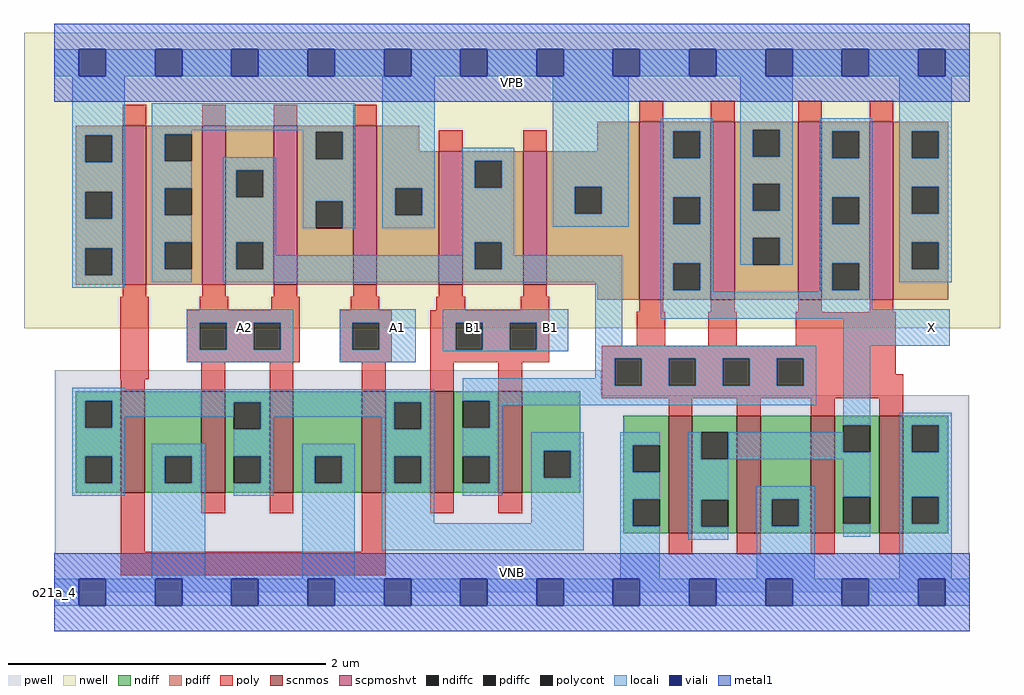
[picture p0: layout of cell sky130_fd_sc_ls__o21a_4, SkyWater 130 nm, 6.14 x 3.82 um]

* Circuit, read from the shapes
.subckt sky130_fd_sc_ls__o21a_4 A1 A2 B1 VGND VNB VPB VPWR X
XM1 VGND A1 n1 VNB sky130_fd_pr__nfet_01v8 w=0.64 l=0.15 m=2
XM2 n1 A2 VGND VNB sky130_fd_pr__nfet_01v8 w=0.64 l=0.15 m=2
XM3 n2 B1 n1 VNB sky130_fd_pr__nfet_01v8 w=0.64 l=0.15 m=2
XM4 X n2 VGND VNB sky130_fd_pr__nfet_01v8 w=0.74 l=0.15 m=4
XM5 n3 A1 VPWR VPB sky130_fd_pr__pfet_01v8_hvt w=1 l=0.15 m=2
XM6 n2 A2 n3 VPB sky130_fd_pr__pfet_01v8_hvt w=1 l=0.15 m=2
XM7 n2 B1 VPWR VPB sky130_fd_pr__pfet_01v8_hvt w=0.84 l=0.15 m=2
XM8 X n2 VPWR VPB sky130_fd_pr__pfet_01v8_hvt w=1.12 l=0.15 m=4
.ends

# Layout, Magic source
magic
tech sky130A
magscale 1 2
<< nwell >>
rect -38 332 1190 704
<< pwell >>
rect 1 248 688 279
rect 1 49 1151 248
rect 0 0 1152 49
<< scnmos >>
rect 84 125 114 253
rect 185 125 215 253
rect 271 125 301 253
rect 387 125 417 253
rect 473 125 503 253
rect 559 125 589 253
rect 773 74 803 222
rect 859 74 889 222
rect 952 74 982 222
rect 1038 74 1068 222
<< scpmoshvt >>
rect 86 387 116 587
rect 186 387 216 587
rect 276 387 306 587
rect 376 387 406 587
rect 484 387 514 555
rect 590 387 620 555
rect 736 368 766 592
rect 826 368 856 592
rect 936 368 966 592
rect 1026 368 1056 592
<< ndiff >>
rect 27 241 84 253
rect 27 207 39 241
rect 73 207 84 241
rect 27 171 84 207
rect 27 137 39 171
rect 73 137 84 171
rect 27 125 84 137
rect 114 171 185 253
rect 114 137 139 171
rect 173 137 185 171
rect 114 125 185 137
rect 215 239 271 253
rect 215 205 226 239
rect 260 205 271 239
rect 215 171 271 205
rect 215 137 226 171
rect 260 137 271 171
rect 215 125 271 137
rect 301 171 387 253
rect 301 137 328 171
rect 362 137 387 171
rect 301 125 387 137
rect 417 239 473 253
rect 417 205 428 239
rect 462 205 473 239
rect 417 171 473 205
rect 417 137 428 171
rect 462 137 473 171
rect 417 125 473 137
rect 503 241 559 253
rect 503 207 514 241
rect 548 207 559 241
rect 503 171 559 207
rect 503 137 514 171
rect 548 137 559 171
rect 503 125 559 137
rect 589 178 662 253
rect 589 144 616 178
rect 650 144 662 178
rect 589 125 662 144
rect 716 185 773 222
rect 716 151 728 185
rect 762 151 773 185
rect 716 117 773 151
rect 716 83 728 117
rect 762 83 773 117
rect 716 74 773 83
rect 803 201 859 222
rect 803 167 814 201
rect 848 167 859 201
rect 803 116 859 167
rect 803 82 814 116
rect 848 82 859 116
rect 803 74 859 82
rect 889 117 952 222
rect 889 83 903 117
rect 937 83 952 117
rect 889 74 952 83
rect 982 210 1038 222
rect 982 176 993 210
rect 1027 176 1038 210
rect 982 120 1038 176
rect 982 86 993 120
rect 1027 86 1038 120
rect 982 74 1038 86
rect 1068 210 1125 222
rect 1068 176 1079 210
rect 1113 176 1125 210
rect 1068 120 1125 176
rect 1068 86 1079 120
rect 1113 86 1125 120
rect 1068 74 1125 86
<< pdiff >>
rect 27 575 86 587
rect 27 541 39 575
rect 73 541 86 575
rect 27 504 86 541
rect 27 470 39 504
rect 73 470 86 504
rect 27 433 86 470
rect 27 399 39 433
rect 73 399 86 433
rect 27 387 86 399
rect 116 576 186 587
rect 116 542 139 576
rect 173 542 186 576
rect 116 508 186 542
rect 116 474 139 508
rect 173 474 186 508
rect 116 440 186 474
rect 116 406 139 440
rect 173 406 186 440
rect 116 387 186 406
rect 216 531 276 587
rect 216 497 229 531
rect 263 497 276 531
rect 216 440 276 497
rect 216 406 229 440
rect 263 406 276 440
rect 216 387 276 406
rect 306 579 376 587
rect 306 545 329 579
rect 363 545 376 579
rect 306 492 376 545
rect 306 458 329 492
rect 363 458 376 492
rect 306 387 376 458
rect 406 555 459 587
rect 683 555 736 592
rect 406 508 484 555
rect 406 474 429 508
rect 463 474 484 508
rect 406 387 484 474
rect 514 543 590 555
rect 514 509 529 543
rect 563 509 590 543
rect 514 440 590 509
rect 514 406 529 440
rect 563 406 590 440
rect 514 387 590 406
rect 620 510 736 555
rect 620 476 655 510
rect 689 476 736 510
rect 620 387 736 476
rect 683 368 736 387
rect 766 580 826 592
rect 766 546 779 580
rect 813 546 826 580
rect 766 497 826 546
rect 766 463 779 497
rect 813 463 826 497
rect 766 414 826 463
rect 766 380 779 414
rect 813 380 826 414
rect 766 368 826 380
rect 856 582 936 592
rect 856 548 879 582
rect 913 548 936 582
rect 856 514 936 548
rect 856 480 879 514
rect 913 480 936 514
rect 856 446 936 480
rect 856 412 879 446
rect 913 412 936 446
rect 856 368 936 412
rect 966 580 1026 592
rect 966 546 979 580
rect 1013 546 1026 580
rect 966 497 1026 546
rect 966 463 979 497
rect 1013 463 1026 497
rect 966 414 1026 463
rect 966 380 979 414
rect 1013 380 1026 414
rect 966 368 1026 380
rect 1056 580 1125 592
rect 1056 546 1079 580
rect 1113 546 1125 580
rect 1056 510 1125 546
rect 1056 476 1079 510
rect 1113 476 1125 510
rect 1056 440 1125 476
rect 1056 406 1079 440
rect 1113 406 1125 440
rect 1056 368 1125 406
<< ndiffc >>
rect 39 207 73 241
rect 39 137 73 171
rect 139 137 173 171
rect 226 205 260 239
rect 226 137 260 171
rect 328 137 362 171
rect 428 205 462 239
rect 428 137 462 171
rect 514 207 548 241
rect 514 137 548 171
rect 616 144 650 178
rect 728 151 762 185
rect 728 83 762 117
rect 814 167 848 201
rect 814 82 848 116
rect 903 83 937 117
rect 993 176 1027 210
rect 993 86 1027 120
rect 1079 176 1113 210
rect 1079 86 1113 120
<< pdiffc >>
rect 39 541 73 575
rect 39 470 73 504
rect 39 399 73 433
rect 139 542 173 576
rect 139 474 173 508
rect 139 406 173 440
rect 229 497 263 531
rect 229 406 263 440
rect 329 545 363 579
rect 329 458 363 492
rect 429 474 463 508
rect 529 509 563 543
rect 529 406 563 440
rect 655 476 689 510
rect 779 546 813 580
rect 779 463 813 497
rect 779 380 813 414
rect 879 548 913 582
rect 879 480 913 514
rect 879 412 913 446
rect 979 546 1013 580
rect 979 463 1013 497
rect 979 380 1013 414
rect 1079 546 1113 580
rect 1079 476 1113 510
rect 1079 406 1113 440
<< poly >>
rect 86 587 116 613
rect 186 587 216 613
rect 276 587 306 613
rect 376 587 406 613
rect 736 592 766 618
rect 826 592 856 618
rect 936 592 966 618
rect 1026 592 1056 618
rect 484 555 514 581
rect 590 555 620 581
rect 86 372 116 387
rect 186 372 216 387
rect 276 372 306 387
rect 376 372 406 387
rect 484 372 514 387
rect 590 372 620 387
rect 83 268 119 372
rect 183 355 219 372
rect 273 355 309 372
rect 373 355 409 372
rect 481 355 517 372
rect 587 355 623 372
rect 167 339 309 355
rect 167 305 183 339
rect 217 305 251 339
rect 285 305 309 339
rect 167 289 309 305
rect 359 339 425 355
rect 359 305 375 339
rect 409 305 425 339
rect 359 289 425 305
rect 473 339 623 355
rect 736 353 766 368
rect 826 353 856 368
rect 936 353 966 368
rect 1026 353 1056 368
rect 473 305 505 339
rect 539 305 573 339
rect 607 305 623 339
rect 733 310 769 353
rect 823 310 859 353
rect 933 352 969 353
rect 1023 352 1059 353
rect 933 310 1059 352
rect 473 289 623 305
rect 689 294 1059 310
rect 84 253 114 268
rect 185 253 215 289
rect 271 253 301 289
rect 387 253 417 289
rect 473 253 503 289
rect 559 253 589 289
rect 689 260 705 294
rect 739 260 773 294
rect 807 260 841 294
rect 875 260 909 294
rect 943 274 1059 294
rect 943 260 1068 274
rect 689 244 1068 260
rect 773 222 803 244
rect 859 222 889 244
rect 952 222 982 244
rect 1038 222 1068 244
rect 84 51 114 125
rect 185 99 215 125
rect 271 99 301 125
rect 387 51 417 125
rect 473 99 503 125
rect 559 99 589 125
rect 84 21 417 51
rect 773 48 803 74
rect 859 48 889 74
rect 952 48 982 74
rect 1038 48 1068 74
<< polycont >>
rect 183 305 217 339
rect 251 305 285 339
rect 375 305 409 339
rect 505 305 539 339
rect 573 305 607 339
rect 705 260 739 294
rect 773 260 807 294
rect 841 260 875 294
rect 909 260 943 294
<< locali >>
rect 0 649 31 683
rect 65 649 127 683
rect 161 649 223 683
rect 257 649 319 683
rect 353 649 415 683
rect 449 649 511 683
rect 545 649 607 683
rect 641 649 703 683
rect 737 649 799 683
rect 833 649 895 683
rect 929 649 991 683
rect 1025 649 1087 683
rect 1121 649 1152 683
rect 23 575 89 649
rect 23 541 39 575
rect 73 541 89 575
rect 23 504 89 541
rect 23 470 39 504
rect 73 470 89 504
rect 23 433 89 470
rect 23 399 39 433
rect 73 399 89 433
rect 23 383 89 399
rect 123 581 379 615
rect 123 576 173 581
rect 123 542 139 576
rect 313 579 379 581
rect 123 508 173 542
rect 123 474 139 508
rect 123 440 173 474
rect 123 406 139 440
rect 123 390 173 406
rect 213 531 279 547
rect 213 497 229 531
rect 263 497 279 531
rect 213 440 279 497
rect 313 545 329 579
rect 363 545 379 579
rect 313 492 379 545
rect 313 458 329 492
rect 363 458 379 492
rect 413 508 479 649
rect 413 474 429 508
rect 463 474 479 508
rect 413 458 479 474
rect 513 543 579 559
rect 513 509 529 543
rect 563 509 579 543
rect 213 406 229 440
rect 263 424 279 440
rect 513 440 579 509
rect 627 510 723 649
rect 627 476 655 510
rect 689 476 723 510
rect 627 460 723 476
rect 763 580 829 596
rect 763 546 779 580
rect 813 546 829 580
rect 763 497 829 546
rect 763 463 779 497
rect 813 463 829 497
rect 513 424 529 440
rect 263 406 529 424
rect 563 424 579 440
rect 563 406 715 424
rect 213 390 715 406
rect 167 339 301 356
rect 167 305 183 339
rect 217 305 251 339
rect 285 305 301 339
rect 167 289 301 305
rect 359 339 455 356
rect 359 305 375 339
rect 409 305 455 339
rect 359 289 455 305
rect 489 339 647 356
rect 489 305 505 339
rect 539 305 573 339
rect 607 305 647 339
rect 489 303 647 305
rect 681 310 715 390
rect 763 414 829 463
rect 763 380 779 414
rect 813 380 829 414
rect 863 582 929 649
rect 863 548 879 582
rect 913 548 929 582
rect 863 514 929 548
rect 863 480 879 514
rect 913 480 929 514
rect 863 446 929 480
rect 863 412 879 446
rect 913 412 929 446
rect 963 580 1029 596
rect 963 546 979 580
rect 1013 546 1029 580
rect 963 497 1029 546
rect 963 463 979 497
rect 1013 463 1029 497
rect 963 414 1029 463
rect 763 378 829 380
rect 963 380 979 414
rect 1013 380 1029 414
rect 1063 580 1129 649
rect 1063 546 1079 580
rect 1113 546 1129 580
rect 1063 510 1129 546
rect 1063 476 1079 510
rect 1113 476 1129 510
rect 1063 440 1129 476
rect 1063 406 1079 440
rect 1113 406 1129 440
rect 1063 390 1129 406
rect 963 378 1029 380
rect 763 356 1029 378
rect 763 344 1127 356
rect 993 310 1127 344
rect 681 294 959 310
rect 681 269 705 294
rect 514 260 705 269
rect 739 260 773 294
rect 807 260 841 294
rect 875 260 909 294
rect 943 260 959 294
rect 23 255 89 257
rect 23 241 478 255
rect 23 207 39 241
rect 73 239 478 241
rect 73 221 226 239
rect 73 207 89 221
rect 23 171 89 207
rect 260 221 428 239
rect 260 205 276 221
rect 23 137 39 171
rect 73 137 89 171
rect 23 121 89 137
rect 123 171 190 187
rect 123 137 139 171
rect 173 137 190 171
rect 123 17 190 137
rect 226 171 276 205
rect 412 205 428 221
rect 462 205 478 239
rect 260 137 276 171
rect 226 121 276 137
rect 312 171 378 187
rect 312 137 328 171
rect 362 137 378 171
rect 312 17 378 137
rect 412 171 478 205
rect 412 137 428 171
rect 462 137 478 171
rect 412 87 478 137
rect 514 241 959 260
rect 548 235 959 241
rect 548 207 564 235
rect 514 171 564 207
rect 993 210 1027 310
rect 548 137 564 171
rect 514 121 564 137
rect 600 178 666 201
rect 600 144 616 178
rect 650 144 666 178
rect 600 87 666 144
rect 412 53 666 87
rect 712 185 762 201
rect 712 151 728 185
rect 712 117 762 151
rect 712 83 728 117
rect 712 17 762 83
rect 798 167 814 201
rect 848 176 993 201
rect 848 167 1027 176
rect 798 116 848 167
rect 798 82 814 116
rect 798 66 848 82
rect 884 117 957 133
rect 884 83 903 117
rect 937 83 957 117
rect 884 17 957 83
rect 993 120 1027 167
rect 993 70 1027 86
rect 1063 210 1129 226
rect 1063 176 1079 210
rect 1113 176 1129 210
rect 1063 120 1129 176
rect 1063 86 1079 120
rect 1113 86 1129 120
rect 1063 17 1129 86
rect 0 -17 31 17
rect 65 -17 127 17
rect 161 -17 223 17
rect 257 -17 319 17
rect 353 -17 415 17
rect 449 -17 511 17
rect 545 -17 607 17
rect 641 -17 703 17
rect 737 -17 799 17
rect 833 -17 895 17
rect 929 -17 991 17
rect 1025 -17 1087 17
rect 1121 -17 1152 17
<< viali >>
rect 31 649 65 683
rect 127 649 161 683
rect 223 649 257 683
rect 319 649 353 683
rect 415 649 449 683
rect 511 649 545 683
rect 607 649 641 683
rect 703 649 737 683
rect 799 649 833 683
rect 895 649 929 683
rect 991 649 1025 683
rect 1087 649 1121 683
rect 31 -17 65 17
rect 127 -17 161 17
rect 223 -17 257 17
rect 319 -17 353 17
rect 415 -17 449 17
rect 511 -17 545 17
rect 607 -17 641 17
rect 703 -17 737 17
rect 799 -17 833 17
rect 895 -17 929 17
rect 991 -17 1025 17
rect 1087 -17 1121 17
<< metal1 >>
rect 0 683 1152 715
rect 0 649 31 683
rect 65 649 127 683
rect 161 649 223 683
rect 257 649 319 683
rect 353 649 415 683
rect 449 649 511 683
rect 545 649 607 683
rect 641 649 703 683
rect 737 649 799 683
rect 833 649 895 683
rect 929 649 991 683
rect 1025 649 1087 683
rect 1121 649 1152 683
rect 0 617 1152 649
rect 0 17 1152 49
rect 0 -17 31 17
rect 65 -17 127 17
rect 161 -17 223 17
rect 257 -17 319 17
rect 353 -17 415 17
rect 449 -17 511 17
rect 545 -17 607 17
rect 641 -17 703 17
rect 737 -17 799 17
rect 833 -17 895 17
rect 929 -17 991 17
rect 1025 -17 1087 17
rect 1121 -17 1152 17
rect 0 -49 1152 -17
<< labels >>
rlabel comment s 0 0 0 0 4 o21a_4
flabel pwell s 0 0 1152 49 0 FreeSans 200 0 0 0 VNB
port 5 nsew ground bidirectional
flabel nwell s 0 617 1152 666 0 FreeSans 200 0 0 0 VPB
port 6 nsew power bidirectional
flabel metal1 s 0 617 1152 666 0 FreeSans 340 0 0 0 VPWR
port 7 nsew power bidirectional abutment
flabel metal1 s 0 0 1152 49 0 FreeSans 340 0 0 0 VGND
port 4 nsew ground bidirectional abutment
flabel locali s 415 316 449 350 0 FreeSans 340 0 0 0 A1
port 1 nsew signal input
flabel locali s 223 316 257 350 0 FreeSans 340 0 0 0 A2
port 2 nsew signal input
flabel locali s 511 316 545 350 0 FreeSans 340 0 0 0 B1
port 3 nsew signal input
flabel locali s 607 316 641 350 0 FreeSans 340 0 0 0 B1
port 3 nsew signal input
flabel locali s 1087 316 1121 350 0 FreeSans 340 0 0 0 X
port 8 nsew signal output
<< properties >>
string LEFsite unit
string LEFclass CORE
string FIXED_BBOX 0 0 1152 666
string GDS_FILE $PDKPATH/libs.ref/sky130_fd_sc_ls/gds/sky130_fd_sc_ls.gds
string LEFsymmetry X Y
string GDS_END 9812
string GDS_START 130
<< end >>
